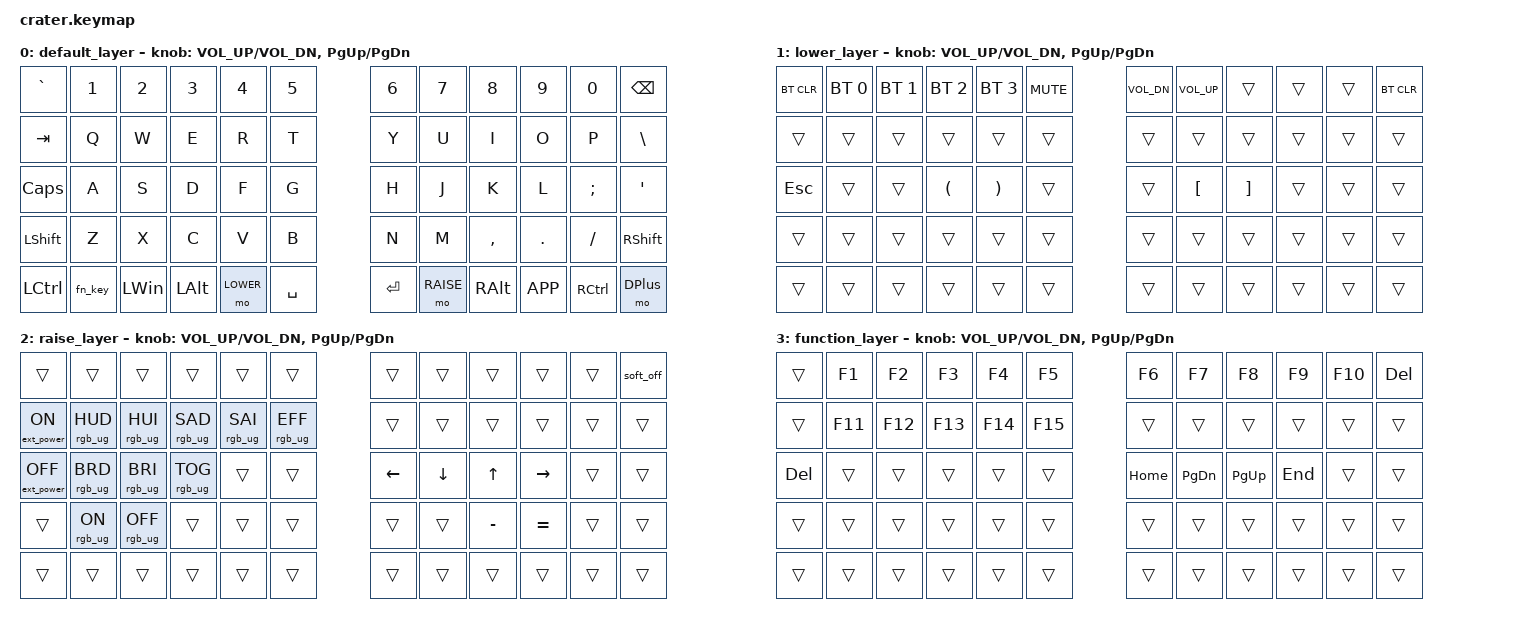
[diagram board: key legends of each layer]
/*
 * Copyright (c) 2020 The ZMK Contributors
 *
 * SPDX-License-Identifier: MIT
 */

#include <behaviors.dtsi>
#include <dt-bindings/zmk/keys.h>
#include <dt-bindings/zmk/bt.h>
#include <dt-bindings/zmk/rgb.h>
#include <dt-bindings/zmk/ext_power.h>
#include <dt-bindings/led/led.h>

#define BASE 0
#define LOWER 1
#define RAISE 2
#define FN 3
#define DPlus 4

/ {
    behaviors {
        fn_key: function_key {
                compatible = "zmk,behavior-mod-morph";
                // how many arguments should be passed from the keymap to this function, here there are no arguments -> &fn_key
                // when it is 1, then &fn_key <something>
                #binding-cells = <0>;
                bindings = <&sl FN>, <&tog FN>; //sticky layer
                mods = <(MOD_LSFT|MOD_RSFT)>;
        };
    };

    keymap {
        compatible = "zmk,keymap";

        default_layer {
// ------------------------------------------------------------------------------------------------------------
// |   `   |  1  |  2  |  3   |  4   |  5   |                   |   6   |  7    |  8    |  9   |   0   |  BSPC |
// |  TAB  |  Q  |  W  |  E   |  R   |  T   |                   |   Y   |  U    |  I    |  O   |   P   |   \   |
// | CAPS  |  A  |  S  |  D   |  F   |  G   |                   |   H   |  J    |  K    |  L   |   ;   |   '   |
// | SHIFT |  Z  |  X  |  C   |  V   |  B   |                   |   N   |  M    |  ,    |  .   |   /   | SHIFT |
// | CTRL  |  FN | META| ALT  | LOWER| SPACE|                   | ENTER | RAISE |  ALT  | MORE | CTRL  |  ++   |
                        bindings = <
   &kp GRAVE  &kp N1  &kp N2    &kp N3     &kp N4     &kp N5               &kp N6     &kp N7    &kp N8     &kp N9    &kp N0    &kp BSPC
   &kp TAB    &kp Q   &kp W     &kp E      &kp R      &kp T                &kp Y      &kp U     &kp I      &kp O     &kp P     &kp BSLH
   &kp CAPS   &kp A   &kp S     &kp D      &kp F      &kp G                &kp H      &kp J     &kp K      &kp L     &kp SEMI  &kp APOS
   &kp LSHFT  &kp Z   &kp X     &kp C      &kp V      &kp B                &kp N      &kp M     &kp COMMA  &kp DOT   &kp FSLH  &kp RSHFT
   &kp LCTRL  &fn_key &kp LWIN  &kp LALT   &mo LOWER  &kp SPACE            &kp ENTER  &mo RAISE &kp RALT   &kp K_APP &kp RCTRL &mo DPlus
                        >;

                        sensor-bindings = <&inc_dec_kp C_VOL_UP C_VOL_DN &inc_dec_kp PG_UP PG_DN>;

        };
        lower_layer {
// -------------------------------------------------            ---------------------------------------------------
// |BT_CLR |  BT1  |  BT2  |  BT3  |  BT4  | MUTE  |            |VOL_DOWN|C_VOL_UP|       |       |       | BTCLR |
// |       |       |       |       |       |       |            |        |        |       |       |       |       |
// |  ESC  |       |       | LPAR  | RPAR  |       |            |        |  LBKT  | RBKT  |       |       |       |
// |       |       |       |       |       |       |            |        |        |       |       |       |       |
// |       |       |       |       |       |       |            |        |        |       |       |       |       |
                        bindings = <
   &bt BT_CLR &bt BT_SEL 0   &bt BT_SEL 1   &bt BT_SEL 2   &bt BT_SEL 3   &kp C_MUTE             &kp C_VOL_DN    &kp C_VOL_UP &trans   &trans    &trans    &bt BT_CLR
   &trans     &trans         &trans         &trans         &trans         &trans                 &trans          &trans       &trans   &trans    &trans    &trans
   &kp ESC    &trans         &trans         &kp LPAR       &kp RPAR       &trans                 &trans          &kp LBKT     &kp RBKT &trans    &trans    &trans
   &trans     &trans         &trans         &trans         &trans         &trans                 &trans          &trans       &trans   &trans    &trans    &trans
   &trans     &trans         &trans         &trans         &trans         &trans                 &trans          &trans       &trans   &trans    &trans    &trans
                        >;

                        sensor-bindings = <&inc_dec_kp C_VOL_UP C_VOL_DN &inc_dec_kp PG_UP PG_DN>;
                };
        raise_layer {
// ------------------------------------------------------------------------------------------------------------
// |       |       |       |       |       |       |          |       |       |       |       |       |SFT_OF |
// |XPWR On|RGB_HUD|RGB_HUI|RGB_SAD|RGB_SAI|RGB_EFF|          |       |       |       |       |       |       |
// |XPWROff|RGB_BRD|RGB_BRI|RGB_TOG|       |       |          |   <-  |   V   |   ^   |   ->  |       |       |
// |       | RGB On|RGB OFF|       |       |       |          |       |       |   -   |   =   |       |       |
// |       |       |       |       |       |       |          |       |       |       |       |       |       |
                        bindings = <
   &trans            &trans          &trans          &trans          &trans          &trans                 &trans    &trans    &trans    &trans    &trans  &soft_off
   &ext_power EP_ON  &rgb_ug RGB_HUD &rgb_ug RGB_HUI &rgb_ug RGB_SAD &rgb_ug RGB_SAI &rgb_ug RGB_EFF        &trans    &trans    &trans    &trans    &trans  &trans
   &ext_power EP_OFF &rgb_ug RGB_BRD &rgb_ug RGB_BRI &rgb_ug RGB_TOG &trans          &trans                 &kp LEFT  &kp DOWN  &kp UP    &kp RIGHT &trans  &trans
   &trans            &rgb_ug RGB_ON  &rgb_ug RGB_OFF &trans          &trans          &trans                 &trans    &trans    &kp MINUS &kp EQUAL &trans  &trans
   &trans            &trans          &trans          &trans          &trans          &trans                 &trans    &trans    &trans    &trans    &trans  &trans
                        >;

                        sensor-bindings = <&inc_dec_kp C_VOL_UP C_VOL_DN &inc_dec_kp PG_UP PG_DN>;
                };
        function_layer {
// ------------------------------------------------------------------------------------------------------------
// |       |  F1   |  F2   |  F3   |  F4   |  F5   |          |  F6   |  F7   |   F8  |   F9  |  F10  |  DEL  |
// |       |  F11  |  F12  |  F13  |  F14  |  F15  |          |       |       |       |       |       |       |
// |  DEL  |       |       |       |       |       |          | home  | pg dn | pg up |  end  |       |       |
// |       |       |       |       |       |       |          |       |       |       |       |       |       |
// |       |       |       |       |       |       |          |       |       |       |       |       |       |
                        bindings = <
   &trans    &kp F1      &kp F2       &kp F3         &kp F4         &kp F5                 &kp F6    &kp F7    &kp F8    &kp F9      &kp F10 &kp DEL
   &trans    &kp F11     &kp F12      &kp F13        &kp F14        &kp F15                &trans    &trans    &trans    &trans      &trans  &trans
   &kp DEL   &trans      &trans       &trans         &trans         &trans                 &kp HOME  &kp PG_DN &kp PG_UP &kp END     &trans  &trans
   &trans    &trans      &trans       &trans         &trans         &trans                 &trans    &trans    &trans    &trans      &trans  &trans
   &trans    &trans      &trans       &trans         &trans         &trans                 &trans    &trans    &trans    &trans      &trans  &trans
                        >;

                        sensor-bindings = <&inc_dec_kp C_VOL_UP C_VOL_DN &inc_dec_kp PG_UP PG_DN>;
                };

    };
};
